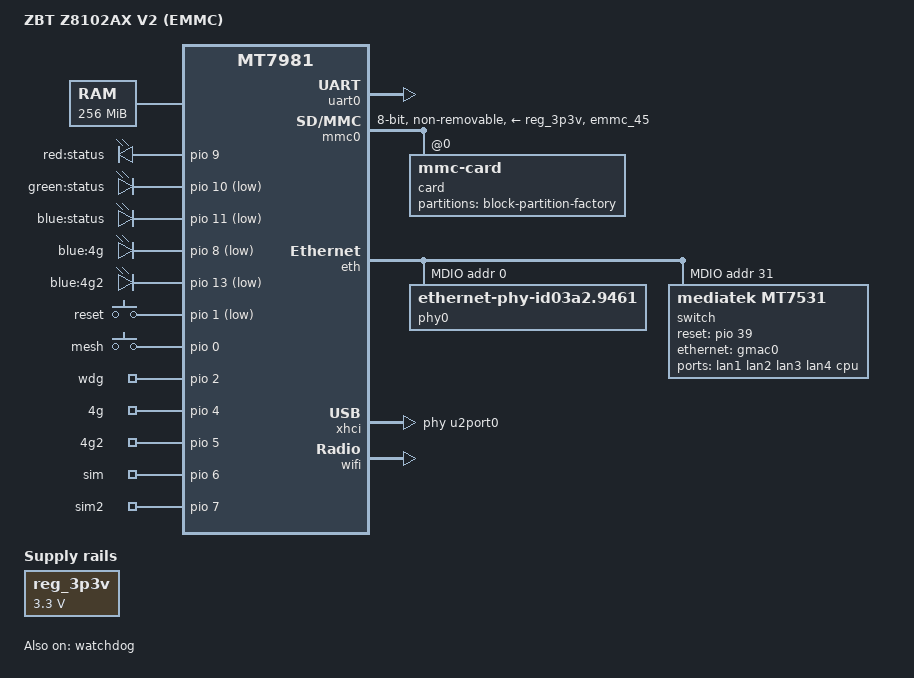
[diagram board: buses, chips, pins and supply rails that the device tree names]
/dts-v1/;

#include "mt7981.dtsi"
#include <dt-bindings/gpio/gpio.h>
#include <dt-bindings/input/input.h>
#include <dt-bindings/leds/common.h>

/ {
	model = "ZBT Z8102AX V2 (EMMC)";
	compatible = "zbt,z8102ax-v2", "zbtlink,z8102ax-emmc", "mediatek,mt7981";

	aliases {
		led-boot = &led_blue;
		led-failsafe = &led_red;
		led-running = &led_blue;
		led-upgrade = &led_red;
		serial0 = &uart0;
	};

	chosen {
		stdout-path = "serial0:115200n8";
		bootargs = "console=ttyS0,115200n1 loglevel=8 earlycon=uart8250,mmio32,0x11002000";
	};

	memory {
		reg = <0 0x40000000 0 0x10000000>;
	};

	leds {
		compatible = "gpio-leds";

		led_red: red {
			label = "red:status";
			gpios = <&pio 9 GPIO_ACTIVE_HIGH>;
		};

		led_green: green {
			label = "green:status";
			gpios = <&pio 10 GPIO_ACTIVE_LOW>;
		};

		led_blue: blue {
			label = "blue:status";
			gpios = <&pio 11 GPIO_ACTIVE_LOW>;
			default-state = "on";
		};

		led_4g: led_4g {
			label = "blue:4g";
			gpios = <&pio 8 GPIO_ACTIVE_LOW>;
		};

		led_4g2: led_4g2 {
			label = "blue:4g2";
			gpios = <&pio 13 GPIO_ACTIVE_LOW>;
		};
	};

	gpio-keys {
		compatible = "gpio-keys";

		reset {
			label = "reset";
			gpios = <&pio 1 GPIO_ACTIVE_LOW>;
			linux,code = <KEY_RESTART>;
		};

		mesh {
			label = "mesh";
			gpios = <&pio 0 GPIO_ACTIVE_HIGH>;
			linux,code = <BTN_0>;
		};
	};

	gpio-export {
		compatible = "gpio-export";

		wdg {
			gpio-export,name = "wdg";
			gpio-export,output = <1>;
			gpios = <&pio 2 GPIO_ACTIVE_HIGH>;
		};

		sim_enable {
			gpio-export,name = "4g";
			gpio-export,output = <1>;
			gpios = <&pio 4 GPIO_ACTIVE_HIGH>;
		};

		sim2_enable {
			gpio-export,name = "4g2";
			gpio-export,output = <1>;
			gpios = <&pio 5 GPIO_ACTIVE_HIGH>;
		};

		sim_select {
			gpio-export,name = "sim";
			gpio-export,output = <1>;
			gpios = <&pio 6 GPIO_ACTIVE_HIGH>;
		};

		sim2_select {
			gpio-export,name = "sim2";
			gpio-export,output = <1>;
			gpios = <&pio 7 GPIO_ACTIVE_HIGH>;
		};
	};

	reg_3p3v: regulator-3p3v {
		compatible = "regulator-fixed";
		regulator-name = "fixed-3.3V";
		regulator-min-microvolt = <3300000>;
		regulator-max-microvolt = <3300000>;
		regulator-boot-on;
		regulator-always-on;
	};
};

&uart0 {
	status = "okay";
};

&watchdog {
	status = "okay";
};

&mmc0 {
	pinctrl-names = "default", "state_uhs";
	pinctrl-0 = <&mmc0_pins_default>;
	pinctrl-1 = <&mmc0_pins_uhs>;
	bus-width = <8>;
	max-frequency = <52000000>;
	cap-mmc-highspeed;
	vmmc-supply = <&reg_3p3v>;
	non-removable;
	status = "okay";

	card@0 {
		compatible = "mmc-card";
		reg = <0>;

		block {
			compatible = "block-device";
			partitions {
				block-partition-factory {
					partname = "factory";

					nvmem-layout {
						compatible = "fixed-layout";
						#address-cells = <1>;
						#size-cells = <1>;

						eeprom_factory_0: eeprom@0 {
							reg = <0x0 0x1000>;
						};

						macaddr_factory_4: macaddr@4 {
							compatible = "mac-base";
							reg = <0x4 0x6>;
							#nvmem-cell-cells = <1>;
						};

						phy_calibration: calibration@18000 {
							reg = <0x18000 0x1000>;
						};
					};
				};
			};
		};
	};
};

&eth {
	status = "okay";

	gmac0: mac@0 {
		compatible = "mediatek,eth-mac";
		reg = <0>;
		phy-mode = "2500base-x";
		nvmem-cells = <&macaddr_factory_4 0>;
		nvmem-cell-names = "mac-address";

		fixed-link {
			speed = <2500>;
			full-duplex;
			pause;
		};
	};

	gmac1: mac@1 {
		compatible = "mediatek,eth-mac";
		reg = <1>;
		phy-mode = "gmii";
		phy-handle = <&phy0>;
		nvmem-cells = <&macaddr_factory_4 1>;
		nvmem-cell-names = "mac-address";
	};

	mdio: mdio-bus {
		#address-cells = <1>;
		#size-cells = <0>;

		phy0: ethernet-phy@0 {
			compatible = "ethernet-phy-id03a2.9461";
			reg = <0>;
			phy-mode = "gmii";
			nvmem-cells = <&phy_calibration>;
			nvmem-cell-names = "phy-cal-data";
		};

		switch: switch@1f {
			compatible = "mediatek,mt7531";
			reg = <31>;
			reset-gpios = <&pio 39 GPIO_ACTIVE_HIGH>;

			ports {
				#address-cells = <1>;
				#size-cells = <0>;

				port@0 {
					reg = <0>;
					label = "lan1";
				};

				port@1 {
					reg = <1>;
					label = "lan2";
				};

				port@2 {
					reg = <2>;
					label = "lan3";
				};

				port@3 {
					reg = <3>;
					label = "lan4";
				};

				port@6 {
					reg = <6>;
					label = "cpu";
					ethernet = <&gmac0>;
					phy-mode = "2500base-x";

					fixed-link {
						speed = <2500>;
						full-duplex;
						pause;
					};
				};
			};
		};
	};
};



&pio {
	spic_pins: spi1-pins {
		mux {
			function = "spi";
			groups = "spi1_1";
		};
	};

	mmc0_pins_default: mmc0-pins-default {
		mux {
			function = "flash";
			groups = "emmc_45";
		};
	};

	mmc0_pins_uhs: mmc0-pins-uhs {
		mux {
			function = "flash";
			groups = "emmc_45";
		};
	};
};

&xhci {
	mediatek,u3p-dis-msk = <0x0>;
	phys = <&u2port0 PHY_TYPE_USB2>,
	       <&u3port0 PHY_TYPE_USB3>;
	status = "okay";
};

&wifi {
	nvmem-cells = <&eeprom_factory_0>, <&macaddr_factory_4 2>;
	nvmem-cell-names = "eeprom", "mac-address";
	status = "okay";
};
